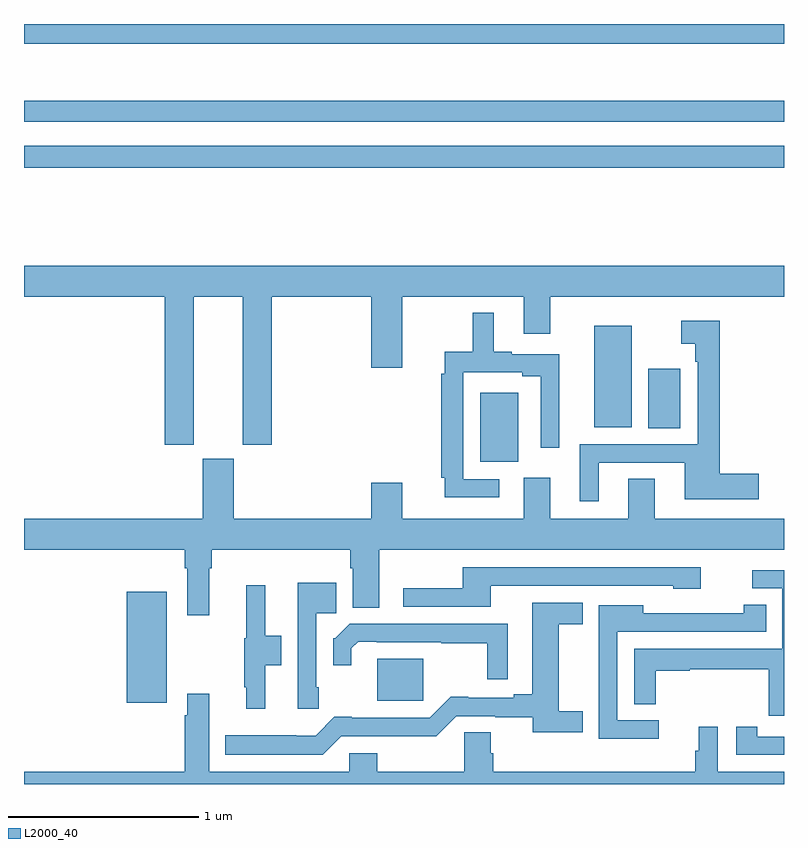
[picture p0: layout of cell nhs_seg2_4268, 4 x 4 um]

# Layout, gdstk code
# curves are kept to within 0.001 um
import gdstk
lib = gdstk.Library(unit=1e-6, precision=1e-09)
def R(c, l, rs):  # rectangles x0, y0, x1, y1
    for r in rs: c.add(gdstk.rectangle(r[:2], r[2:], *l))
def P(c, l, *ps):  # polygons
    for p in ps: c.add(gdstk.Polygon(p, *l))
L2000_40 = (2000, 40)

nhs_seg2_4268 = lib.new_cell('nhs_seg2_4268')
R(nhs_seg2_4268, L2000_40, [(343.541,584.228,343.75,584.812), (344.858,584.237,345.1,584.458), (345.401,585.497,345.601,585.859), (346.286,585.673,346.453,585.985), (346.001,585.677,346.198,586.213), (343,587.044,347,587.16), (343,587.286,347,587.395), (343,587.696,347,587.8)])
P(nhs_seg2_4268, L2000_40, [(343.894,586.364),(344.15,586.364),(344.15,585.585),(344.303,585.585),(344.303,586.364),(344.828,586.364),(344.828,585.99),(344.992,585.99),(344.992,586.364),(345.629,586.364),(345.629,586.17),(345.769,586.17),(345.769,586.364),(347,586.364),(347,586.528),(343,586.528),(343,586.364),(343.742,586.364),(343.742,585.585),(343.894,585.585)],
  [(345.502,585.405),(345.312,585.405),(345.312,585.966),(345.623,585.966),(345.623,585.946),(345.72,585.946),(345.72,585.57),(345.818,585.57),(345.818,586.062),(345.568,586.062),(345.568,586.075),(345.472,586.075),(345.472,586.279),(345.363,586.279),(345.363,586.075),(345.214,586.075),(345.214,585.959),(345.196,585.959),(345.196,585.412),(345.214,585.412),(345.214,585.309),(345.502,585.309)],
  [(346.024,585.492),(346.478,585.492),(346.478,585.299),(346.867,585.299),(346.867,585.434),(346.661,585.434),(346.661,586.237),(346.458,586.237),(346.458,586.118),(346.533,586.118),(346.533,586.022),(346.545,586.022),(346.545,585.588),(345.926,585.588),(345.926,585.288),(346.024,585.288)],
  [(343.975,584.936),(343.988,584.936),(343.988,585.032),(344.717,585.032),(344.717,584.936),(344.729,584.936),(344.729,584.728),(344.869,584.728),(344.869,585.032),(347,585.032),(347,585.196),(346.321,585.196),(346.321,585.407),(346.181,585.407),(346.181,585.196),(345.769,585.196),(345.769,585.412),(345.629,585.412),(345.629,585.196),(344.992,585.196),(344.992,585.385),(344.828,585.385),(344.828,585.196),(344.104,585.196),(344.104,585.513),(343.94,585.513),(343.94,585.196),(343,585.196),(343,585.032),(343.847,585.032),(343.847,584.936),(343.859,584.936),(343.859,584.688),(343.975,584.688)],
  [(345.457,584.844),(346.416,584.844),(346.416,584.828),(346.561,584.828),(346.561,584.94),(345.31,584.94),(345.31,584.831),(344.997,584.831),(344.997,584.733),(345.457,584.733)],
  [(347,584.925),(346.833,584.925),(346.833,584.829),(346.992,584.829),(346.992,584.511),(346.212,584.511),(346.212,584.221),(346.324,584.221),(346.324,584.395),(346.505,584.395),(346.505,584.403),(346.919,584.403),(346.919,584.16),(347,584.16)],
  [(344.551,584.308),(344.538,584.308),(344.538,584.7),(344.644,584.7),(344.644,584.86),(344.442,584.86),(344.442,584.196),(344.551,584.196)],
  [(344.269,584.425),(344.353,584.425),(344.353,584.58),(344.269,584.58),(344.269,584.845),(344.171,584.845),(344.171,584.568),(344.16,584.568),(344.16,584.308),(344.171,584.308),(344.171,584.196),(344.269,584.196)],
  [(344.67,584.052),(345.17,584.051),(345.276,584.157),(345.48,584.157),(345.48,584.152),(345.677,584.152),(345.677,584.072),(345.941,584.072),(345.941,584.183),(345.814,584.183),(345.814,584.641),(345.941,584.641),(345.941,584.755),(345.674,584.755),(345.674,584.273),(345.578,584.273),(345.578,584.253),(345.337,584.253),(345.337,584.258),(345.245,584.258),(345.135,584.148),(344.725,584.148),(344.725,584.153),(344.633,584.153),(344.535,584.055),(344.06,584.056),(344.06,583.955),(344.573,583.955)],
  [(346.342,584.136),(346.122,584.136),(346.122,584.601),(346.907,584.601),(346.907,584.744),(346.789,584.744),(346.789,584.698),(346.258,584.698),(346.258,584.74),(346.026,584.74),(346.026,584.504),(346.025,584.504),(346.025,584.269),(346.026,584.269),(346.026,584.039),(346.342,584.039)],
  [(345.546,584.643),(344.714,584.643),(344.639,584.568),(344.628,584.568),(344.628,584.424),(344.723,584.424),(344.723,584.514),(344.758,584.55),(344.857,584.55),(344.857,584.547),(345.196,584.547),(345.196,584.542),(345.438,584.542),(345.438,584.352),(345.546,584.352)],
  [(347,583.864),(346.651,583.864),(346.651,584.101),(346.55,584.101),(346.55,583.974),(346.533,583.974),(346.533,583.864),(345.47,583.864),(345.47,583.962),(345.457,583.962),(345.457,584.072),(345.318,584.072),(345.318,583.864),(344.859,583.864),(344.859,583.962),(344.712,583.962),(344.712,583.864),(343.975,583.864),(343.975,584.275),(343.859,584.275),(343.859,584.162),(343.847,584.162),(343.847,583.864),(343,583.864),(343,583.8),(347,583.8)],
  [(347,584.049),(346.858,584.049),(346.858,584.101),(346.749,584.101),(346.749,583.953),(347,583.953)])

lib.write_gds('nhs_seg2_4268.gds')
